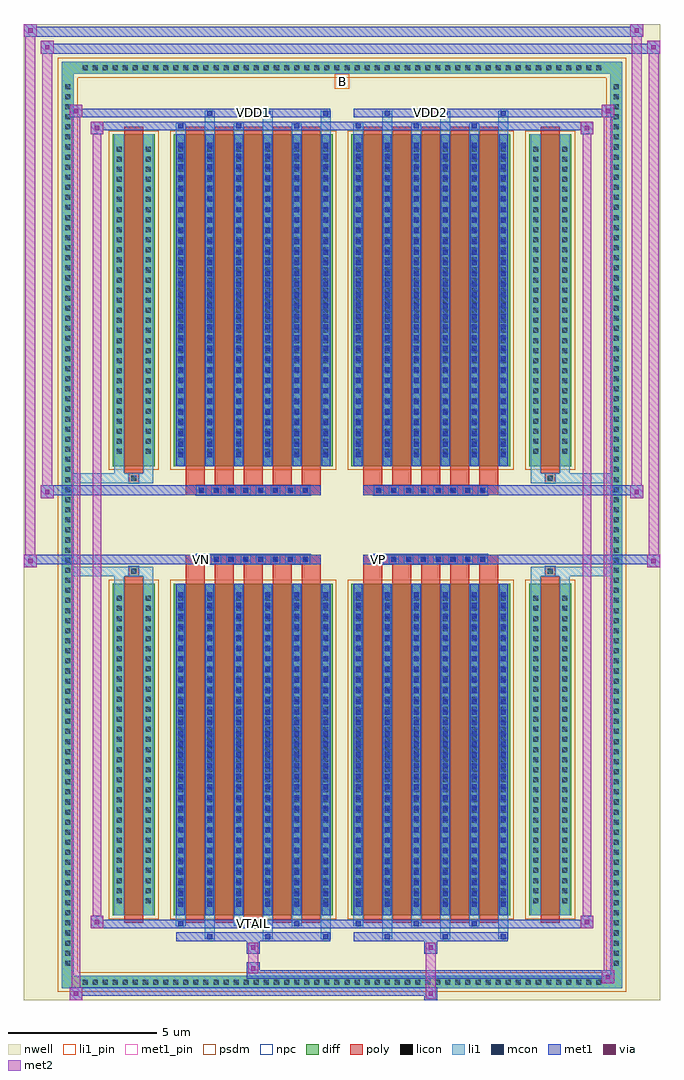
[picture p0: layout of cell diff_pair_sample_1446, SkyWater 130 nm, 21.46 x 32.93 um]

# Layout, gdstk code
import gdstk
lib = gdstk.Library(unit=1e-6, precision=5e-09)
def R(c, l, rs):  # rectangles x0, y0, x1, y1
    for r in rs: c.add(gdstk.rectangle(r[:2], r[2:], *l))
def A(c, l, x, y, w, h, nx, ny, dx, dy):  # array of equal rectangles
    R(c, l, [(x+i*dx, y+j*dy, x+i*dx+w, y+j*dy+h) for i in range(nx) for j in range(ny)])
def P(c, l, *ps):  # polygons
    for p in ps: c.add(gdstk.Polygon(p, *l))
nwell = (64, 20)
diff = (65, 20)
poly = (66, 20)
licon = (66, 44)
li1_pin = (67, 16)
li1 = (67, 20)
mcon = (67, 44)
met1_pin = (68, 16)
met1 = (68, 20)
via = (68, 44)
met2 = (69, 20)
psdm = (94, 20)
npc = (95, 20)

diff_pair_sample_1446 = lib.new_cell('diff_pair_sample_1446')
R(diff_pair_sample_1446, nwell, [(-10.73,-16.03,10.73,16.9), (-8.05,-14.22,-0.01,-0.8), (0.01,-14.22,8.05,-0.8), (-8.05,0.8,-0.01,14.22), (0.01,0.8,8.05,14.22)])
A(diff_pair_sample_1446, diff, -8.875, -15.63, 0.41, 0.41, 52, 2, 0.34, 30.85)
A(diff_pair_sample_1446, diff, -9.46, -14.995, 0.41, 0.41, 1, 88, 0, 0.34)
A(diff_pair_sample_1446, diff, 9.05, -14.995, 0.41, 0.41, 1, 88, 0, 0.34)
R(diff_pair_sample_1446, diff, [(-8.875,-15.63,8.875,-15.22), (-9.46,-14.995,-9.05,14.995), (9.05,-14.995,9.46,14.995), (-7.74,-13.175,-6.31,-1.985), (-5.67,-13.175,-0.32,-1.985), (0.32,-13.175,5.67,-1.985), (6.31,-13.175,7.74,-1.985), (-7.74,1.985,-6.31,13.175), (-5.67,1.985,-0.32,13.175), (0.32,1.985,5.67,13.175), (6.31,1.985,7.74,13.175), (-8.875,15.22,8.875,15.63)])
P(diff_pair_sample_1446, diff, [(9.46,15.63),(-9.46,15.63),(-9.46,-15.22),(-9.05,-15.22),(-9.05,15.22),(9.05,15.22),(9.05,-15.22),(-9.05,-15.22),(-9.46,-15.22),(-9.46,-15.63),(9.46,-15.63)])
A(diff_pair_sample_1446, poly, -5.28, -13.425, 0.65, 11.69, 5, 2, 0.98, 15.16)
A(diff_pair_sample_1446, poly, 0.71, -13.425, 0.65, 11.69, 5, 2, 0.98, 15.16)
A(diff_pair_sample_1446, poly, -5.28, -1.735, 0.65, 0.405, 5, 2, 0.98, 3.065)
A(diff_pair_sample_1446, poly, 0.71, -1.735, 0.65, 0.405, 5, 2, 0.98, 3.065)
A(diff_pair_sample_1446, poly, -4.91, -1.33, 0.33, 0.33, 8, 2, 0.5, 2.33)
A(diff_pair_sample_1446, poly, 1.08, -1.33, 0.33, 0.33, 8, 2, 0.5, 2.33)
R(diff_pair_sample_1446, poly, [(-7.35,-13.425,-6.7,-1.735), (6.7,-13.425,7.35,-1.735), (-7.19,-1.735,-6.86,-1.405), (-7.19,-1.735,-6.86,-1.405), (6.86,-1.735,7.19,-1.405), (6.86,-1.735,7.19,-1.405), (-5.28,-1.33,-0.71,-1), (0.71,-1.33,5.28,-1), (-5.28,1,-0.71,1.33), (0.71,1,5.28,1.33), (-7.19,1.405,-6.86,1.735), (-7.19,1.405,-6.86,1.735), (6.86,1.405,7.19,1.735), (6.86,1.405,7.19,1.735), (-7.35,1.735,-6.7,13.425), (6.7,1.735,7.35,13.425)])
A(diff_pair_sample_1446, licon, -8.755, -15.51, 0.17, 0.17, 52, 2, 0.34, 30.85)
A(diff_pair_sample_1446, licon, -9.34, -14.875, 0.17, 0.17, 1, 88, 0, 0.34)
A(diff_pair_sample_1446, licon, 9.17, -14.875, 0.17, 0.17, 1, 88, 0, 0.34)
A(diff_pair_sample_1446, licon, -7.6, -12.765, 0.17, 0.17, 1, 31, 0, 0.34)
A(diff_pair_sample_1446, licon, -6.62, -12.765, 0.17, 0.17, 1, 31, 0, 0.34)
A(diff_pair_sample_1446, licon, -5.53, -12.765, 0.17, 0.17, 6, 31, 0.98, 0.34)
A(diff_pair_sample_1446, licon, 0.46, -12.765, 0.17, 0.17, 6, 31, 0.98, 0.34)
A(diff_pair_sample_1446, licon, 6.45, -12.765, 0.17, 0.17, 1, 31, 0, 0.34)
A(diff_pair_sample_1446, licon, 7.43, -12.765, 0.17, 0.17, 1, 31, 0, 0.34)
A(diff_pair_sample_1446, licon, -4.83, -1.25, 0.17, 0.17, 8, 2, 0.5, 2.33)
A(diff_pair_sample_1446, licon, 1.16, -1.25, 0.17, 0.17, 8, 2, 0.5, 2.33)
A(diff_pair_sample_1446, licon, -7.6, 2.395, 0.17, 0.17, 1, 31, 0, 0.34)
A(diff_pair_sample_1446, licon, -6.62, 2.395, 0.17, 0.17, 1, 31, 0, 0.34)
A(diff_pair_sample_1446, licon, -5.53, 2.395, 0.17, 0.17, 6, 31, 0.98, 0.34)
A(diff_pair_sample_1446, licon, 0.46, 2.395, 0.17, 0.17, 6, 31, 0.98, 0.34)
A(diff_pair_sample_1446, licon, 6.45, 2.395, 0.17, 0.17, 1, 31, 0, 0.34)
A(diff_pair_sample_1446, licon, 7.43, 2.395, 0.17, 0.17, 1, 31, 0, 0.34)
R(diff_pair_sample_1446, licon, [(-7.11,-1.655,-6.94,-1.485), (6.94,-1.655,7.11,-1.485), (-7.11,1.485,-6.94,1.655), (6.94,1.485,7.11,1.655)])
R(diff_pair_sample_1446, li1_pin, [(-0.25,14.72,0.25,15.22)])
A(diff_pair_sample_1446, li1, -8.835, -15.59, 0.33, 0.33, 52, 2, 0.34, 30.85)
A(diff_pair_sample_1446, li1, -9.42, -14.955, 0.33, 0.33, 1, 88, 0, 0.34)
A(diff_pair_sample_1446, li1, 9.09, -14.955, 0.33, 0.33, 1, 88, 0, 0.34)
A(diff_pair_sample_1446, li1, -4.63, -13.98, 0.33, 0.805, 3, 2, 1.96, 27.155)
A(diff_pair_sample_1446, li1, -4.55, -13.98, 0.17, 0.17, 3, 2, 1.96, 27.79)
A(diff_pair_sample_1446, li1, 1.36, -13.98, 0.33, 0.805, 3, 2, 1.96, 27.155)
A(diff_pair_sample_1446, li1, 1.44, -13.98, 0.17, 0.17, 3, 2, 1.96, 27.79)
A(diff_pair_sample_1446, li1, -5.61, -13.55, 0.33, 0.375, 3, 2, 1.96, 26.725)
A(diff_pair_sample_1446, li1, -5.53, -13.55, 0.17, 0.17, 3, 2, 1.96, 26.93)
A(diff_pair_sample_1446, li1, 0.38, -13.55, 0.33, 0.375, 3, 2, 1.96, 26.725)
A(diff_pair_sample_1446, li1, 0.46, -13.55, 0.17, 0.17, 3, 2, 1.96, 26.93)
A(diff_pair_sample_1446, li1, -5.61, -13.175, 0.33, 11.19, 6, 2, 0.98, 15.16)
A(diff_pair_sample_1446, li1, 0.38, -13.175, 0.33, 11.19, 6, 2, 0.98, 15.16)
A(diff_pair_sample_1446, li1, -5.53, -12.885, 0.17, 0.17, 6, 30, 0.98, 0.36)
A(diff_pair_sample_1446, li1, -5.53, -12.885, 0.17, 10.61, 6, 2, 0.98, 15.16)
A(diff_pair_sample_1446, li1, 0.46, -12.885, 0.17, 0.17, 6, 30, 0.98, 0.36)
A(diff_pair_sample_1446, li1, 0.46, -12.885, 0.17, 10.61, 6, 2, 0.98, 15.16)
A(diff_pair_sample_1446, li1, -7.68, -12.845, 0.33, 0.33, 1, 31, 0, 0.34)
A(diff_pair_sample_1446, li1, -6.7, -12.845, 0.33, 0.33, 1, 31, 0, 0.34)
A(diff_pair_sample_1446, li1, -5.61, -12.845, 0.33, 0.33, 6, 31, 0.98, 0.34)
A(diff_pair_sample_1446, li1, 0.38, -12.845, 0.33, 0.33, 6, 31, 0.98, 0.34)
A(diff_pair_sample_1446, li1, 6.37, -12.845, 0.33, 0.33, 1, 31, 0, 0.34)
A(diff_pair_sample_1446, li1, 7.35, -12.845, 0.33, 0.33, 1, 31, 0, 0.34)
A(diff_pair_sample_1446, li1, -4.91, -1.33, 0.33, 0.33, 8, 2, 0.5, 2.33)
A(diff_pair_sample_1446, li1, 1.08, -1.33, 0.33, 0.33, 8, 2, 0.5, 2.33)
A(diff_pair_sample_1446, li1, -5.53, 2.275, 0.17, 0.17, 6, 30, 0.98, 0.36)
A(diff_pair_sample_1446, li1, 0.46, 2.275, 0.17, 0.17, 6, 30, 0.98, 0.36)
A(diff_pair_sample_1446, li1, -7.68, 2.315, 0.33, 0.33, 1, 31, 0, 0.34)
A(diff_pair_sample_1446, li1, -6.7, 2.315, 0.33, 0.33, 1, 31, 0, 0.34)
A(diff_pair_sample_1446, li1, -5.61, 2.315, 0.33, 0.33, 6, 31, 0.98, 0.34)
A(diff_pair_sample_1446, li1, 0.38, 2.315, 0.33, 0.33, 6, 31, 0.98, 0.34)
A(diff_pair_sample_1446, li1, 6.37, 2.315, 0.33, 0.33, 1, 31, 0, 0.34)
A(diff_pair_sample_1446, li1, 7.35, 2.315, 0.33, 0.33, 1, 31, 0, 0.34)
R(diff_pair_sample_1446, li1, [(-9.46,-15.63,-9.05,-15.22), (-9.46,-15.63,-9.05,-15.22), (-9.05,-15.63,9.05,-15.22), (9.05,-15.63,9.46,-15.22), (9.05,-15.63,9.46,-15.22), (-9.46,-15.22,-9.05,15.22), (9.05,-15.22,9.46,15.22), (-7.68,-13.175,-7.35,-1.985), (-6.7,-13.175,-6.37,-1.985), (6.37,-13.175,6.7,-1.985), (7.35,-13.175,7.68,-1.985), (-7.68,-1.985,-7.35,-1.405), (-6.7,-1.985,-6.37,-1.405), (6.37,-1.985,6.7,-1.405), (7.35,-1.985,7.68,-1.405), (-9.46,-1.735,-7.19,-1.405), (-7.68,-1.735,-7.19,-1.405), (-7.19,-1.735,-6.86,-1.405), (-6.86,-1.735,-6.37,-1.405), (6.37,-1.735,6.86,-1.405), (6.86,-1.735,7.19,-1.405), (6.86,-1.735,9.46,-1.405), (7.19,-1.735,7.68,-1.405), (-9.46,1.405,-7.19,1.735), (-7.68,1.405,-7.19,1.735), (-7.68,1.405,-7.35,1.985), (-7.19,1.405,-6.86,1.735), (-6.86,1.405,-6.37,1.735), (-6.7,1.405,-6.37,1.985), (6.37,1.405,6.86,1.735), (6.37,1.405,6.7,1.985), (6.86,1.405,7.19,1.735), (6.86,1.405,9.46,1.735), (7.19,1.405,7.68,1.735), (7.35,1.405,7.68,1.985), (-7.68,1.985,-7.35,13.175), (-6.7,1.985,-6.37,13.175), (6.37,1.985,6.7,13.175), (7.35,1.985,7.68,13.175), (-9.46,15.22,-9.05,15.63), (-9.46,15.22,-9.05,15.63), (-9.05,15.22,9.05,15.63), (9.05,15.22,9.46,15.63), (9.05,15.22,9.46,15.63)])
A(diff_pair_sample_1446, mcon, -4.55, -13.98, 0.17, 0.17, 3, 2, 1.96, 27.79)
A(diff_pair_sample_1446, mcon, 1.44, -13.98, 0.17, 0.17, 3, 2, 1.96, 27.79)
A(diff_pair_sample_1446, mcon, -5.53, -13.55, 0.17, 0.17, 3, 2, 1.96, 26.93)
A(diff_pair_sample_1446, mcon, 0.46, -13.55, 0.17, 0.17, 3, 2, 1.96, 26.93)
A(diff_pair_sample_1446, mcon, -5.53, -12.885, 0.17, 0.17, 6, 30, 0.98, 0.36)
A(diff_pair_sample_1446, mcon, 0.46, -12.885, 0.17, 0.17, 6, 30, 0.98, 0.36)
A(diff_pair_sample_1446, mcon, -4.83, -1.25, 0.17, 0.17, 8, 2, 0.5, 2.33)
A(diff_pair_sample_1446, mcon, 1.16, -1.25, 0.17, 0.17, 8, 2, 0.5, 2.33)
A(diff_pair_sample_1446, mcon, -5.53, 2.275, 0.17, 0.17, 6, 30, 0.98, 0.36)
A(diff_pair_sample_1446, mcon, 0.46, 2.275, 0.17, 0.17, 6, 30, 0.98, 0.36)
R(diff_pair_sample_1446, met1_pin, [(-3.13,-13.59,-2.86,-13.32), (-4.88,-1.29,-4.61,-1.02), (1.11,-1.29,1.38,-1.02), (-3.13,13.77,-2.86,14.04), (2.86,13.77,3.13,14.04)])
A(diff_pair_sample_1446, met1, -4.61, -14.04, 0.29, 0.29, 3, 2, 1.96, 27.79)
A(diff_pair_sample_1446, met1, 1.38, -14.04, 0.29, 0.29, 3, 2, 1.96, 27.79)
A(diff_pair_sample_1446, met1, -5.59, -13.61, 0.29, 0.29, 3, 2, 1.96, 26.93)
A(diff_pair_sample_1446, met1, 0.4, -13.61, 0.29, 0.29, 3, 2, 1.96, 26.93)
A(diff_pair_sample_1446, met1, -5.59, -13.175, 0.29, 11.19, 6, 2, 0.98, 15.16)
A(diff_pair_sample_1446, met1, 0.4, -13.175, 0.29, 11.19, 6, 2, 0.98, 15.16)
A(diff_pair_sample_1446, met1, -5.59, -12.945, 0.29, 0.29, 6, 30, 0.98, 0.36)
A(diff_pair_sample_1446, met1, 0.4, -12.945, 0.29, 0.29, 6, 30, 0.98, 0.36)
A(diff_pair_sample_1446, met1, -4.89, -1.31, 0.29, 0.29, 8, 2, 0.5, 2.33)
A(diff_pair_sample_1446, met1, 1.1, -1.31, 0.29, 0.29, 8, 2, 0.5, 2.33)
A(diff_pair_sample_1446, met1, -5.59, 2.215, 0.29, 0.29, 6, 30, 0.98, 0.36)
A(diff_pair_sample_1446, met1, 0.4, 2.215, 0.29, 0.29, 6, 30, 0.98, 0.36)
R(diff_pair_sample_1446, met1, [(-9.19,-16.03,-8.76,-15.6), (2.78,-16.03,3.21,-15.6), (-9.19,-15.89,3.21,-15.6), (8.76,-15.46,9.19,-15.03), (-3.21,-15.32,9.19,-15.03), (-3.21,-15.18,-2.78,-14.75), (-3.21,-14.47,-2.78,-14.04), (2.78,-14.47,3.21,-14.04), (-5.59,-14.04,-0.4,-13.75), (0.4,-14.04,5.59,-13.75), (-8.48,-13.61,-8.05,-13.18), (-8.48,-13.61,-5.59,-13.32), (-5.59,-13.61,-0.4,-13.32), (-0.4,-13.61,0.4,-13.32), (0.4,-13.61,5.59,-13.32), (5.59,-13.61,8.48,-13.32), (8.05,-13.61,8.48,-13.18), (-10.73,-1.43,-10.3,-1), (10.3,-1.43,10.73,-1), (-10.73,-1.33,-0.71,-1), (-5.28,-1.33,-0.71,-1), (0.71,-1.33,5.28,-1), (0.71,-1.33,10.73,-1), (-10.16,0.9,-9.73,1.33), (9.73,0.9,10.16,1.33), (-10.16,1,-5.28,1.33), (-5.28,1,-0.71,1.33), (0.71,1,5.28,1.33), (5.28,1,10.16,1.33), (-8.48,13.18,-8.05,13.61), (8.05,13.18,8.48,13.61), (-8.48,13.32,-5.59,13.61), (-5.59,13.32,-0.4,13.61), (-0.4,13.32,0.4,13.61), (0.4,13.32,5.59,13.61), (5.59,13.32,8.48,13.61), (-9.19,13.75,-8.76,14.18), (-9.19,13.75,-5.59,14.04), (-5.59,13.75,-0.4,14.04), (0.4,13.75,5.59,14.04), (5.59,13.75,9.19,14.04), (8.76,13.75,9.19,14.18), (-10.16,15.9,-9.73,16.33), (-10.16,15.9,-8.05,16.23), (-8.05,15.9,8.05,16.23), (8.05,15.9,10.73,16.23), (10.3,15.9,10.73,16.33), (-10.73,16.47,-10.3,16.9), (-10.73,16.47,-8.05,16.8), (-8.05,16.47,8.05,16.8), (8.05,16.47,10.16,16.8), (9.73,16.47,10.16,16.9)])
R(diff_pair_sample_1446, via, [(-9.05,-15.89,-8.9,-15.74), (2.92,-15.89,3.07,-15.74), (8.9,-15.32,9.05,-15.17), (-3.07,-15.04,-2.92,-14.89), (-3.07,-14.33,-2.92,-14.18), (2.92,-14.33,3.07,-14.18), (-8.34,-13.47,-8.19,-13.32), (8.19,-13.47,8.34,-13.32), (-10.59,-1.29,-10.44,-1.14), (10.44,-1.29,10.59,-1.14), (-10.02,1.04,-9.87,1.19), (9.87,1.04,10.02,1.19), (-8.34,13.32,-8.19,13.47), (8.19,13.32,8.34,13.47), (-9.05,13.89,-8.9,14.04), (8.9,13.89,9.05,14.04), (-10.02,16.04,-9.87,16.19), (10.44,16.04,10.59,16.19), (-10.59,16.61,-10.44,16.76), (9.87,16.61,10.02,16.76)])
R(diff_pair_sample_1446, met2, [(-9.19,-16.03,-8.76,-15.6), (-9.12,-16.03,-8.83,14.18), (-8.83,-16.03,-8.76,-15.6), (-9.14,-15.98,-8.81,-15.65), (2.83,-15.98,3.16,-15.65), (2.83,-15.65,3.16,-14.42), (8.76,-15.46,9.19,-15.03), (8.83,-15.46,9.12,14.18), (9.12,-15.46,9.19,-15.03), (8.81,-15.41,9.14,-15.08), (-3.16,-15.13,-2.83,-14.8), (-3.16,-14.8,-2.83,-14.42), (-3.16,-14.42,-2.83,-14.09), (2.83,-14.42,3.16,-14.09), (-8.48,-13.61,-8.05,-13.18), (-8.41,-13.61,-8.12,13.61), (-8.12,-13.61,-8.05,-13.18), (8.05,-13.61,8.48,-13.18), (8.12,-13.61,8.41,13.61), (8.41,-13.61,8.48,-13.18), (-8.43,-13.56,-8.1,-13.23), (8.1,-13.56,8.43,-13.23), (-10.73,-1.43,-10.3,-1), (-10.68,-1.43,-10.35,16.9), (-10.35,-1.43,-10.3,-1), (10.3,-1.43,10.73,-1), (10.35,-1.43,10.68,16.33), (10.68,-1.43,10.73,-1), (-10.68,-1.38,-10.35,-1.05), (10.35,-1.38,10.68,-1.05), (-10.16,0.9,-9.73,1.33), (-10.11,0.9,-9.78,16.33), (-9.78,0.9,-9.73,1.33), (9.73,0.9,10.16,1.33), (9.78,0.9,10.11,16.9), (10.11,0.9,10.16,1.33), (-10.11,0.95,-9.78,1.28), (9.78,0.95,10.11,1.28), (-8.48,13.18,-8.05,13.61), (-8.12,13.18,-8.05,13.61), (8.05,13.18,8.48,13.61), (8.41,13.18,8.48,13.61), (-8.43,13.23,-8.1,13.56), (8.1,13.23,8.43,13.56), (-9.19,13.75,-8.76,14.18), (-8.83,13.75,-8.76,14.18), (8.76,13.75,9.19,14.18), (9.12,13.75,9.19,14.18), (-9.14,13.8,-8.81,14.13), (8.81,13.8,9.14,14.13), (-10.16,15.9,-9.73,16.33), (-9.78,15.9,-9.73,16.33), (10.3,15.9,10.73,16.33), (10.68,15.9,10.73,16.33), (-10.11,15.95,-9.78,16.28), (10.35,15.95,10.68,16.28), (-10.73,16.47,-10.3,16.9), (-10.35,16.47,-10.3,16.9), (9.73,16.47,10.16,16.9), (10.11,16.47,10.16,16.9), (-10.68,16.52,-10.35,16.85), (9.78,16.52,10.11,16.85)])
R(diff_pair_sample_1446, psdm, [(-7.87,-13.305,-6.18,-1.855), (-5.8,-13.305,-0.19,-1.855), (0.19,-13.305,5.8,-1.855), (6.18,-13.305,7.87,-1.855), (-7.87,1.855,-6.18,13.305), (-5.8,1.855,-0.19,13.305), (0.19,1.855,5.8,13.305), (6.18,1.855,7.87,13.305)])
P(diff_pair_sample_1446, psdm, [(9.59,15.76),(-9.59,15.76),(-9.59,-15.09),(-8.92,-15.09),(-8.92,15.09),(8.92,15.09),(8.92,-15.09),(-8.92,-15.09),(-9.59,-15.09),(-9.59,-15.76),(9.59,-15.76)])
A(diff_pair_sample_1446, npc, -4.93, -1.35, 0.37, 0.37, 8, 2, 0.5, 2.33)
A(diff_pair_sample_1446, npc, 1.06, -1.35, 0.37, 0.37, 8, 2, 0.5, 2.33)
R(diff_pair_sample_1446, npc, [(-7.21,-1.755,-6.84,-1.385), (6.84,-1.755,7.21,-1.385), (-4.93,-1.35,-4.06,-0.98), (-4.93,-1.35,-4.06,-0.98), (-4.43,-1.35,-3.56,-0.98), (-4.43,-1.35,-3.56,-0.98), (-3.93,-1.35,-3.06,-0.98), (-3.93,-1.35,-3.06,-0.98), (-3.43,-1.35,-2.56,-0.98), (-3.43,-1.35,-2.56,-0.98), (-2.93,-1.35,-2.06,-0.98), (-2.93,-1.35,-2.06,-0.98), (-2.43,-1.35,-1.56,-0.98), (-2.43,-1.35,-1.56,-0.98), (-1.93,-1.35,-1.06,-0.98), (-1.93,-1.35,-1.06,-0.98), (1.06,-1.35,1.93,-0.98), (1.06,-1.35,1.93,-0.98), (1.56,-1.35,2.43,-0.98), (1.56,-1.35,2.43,-0.98), (2.06,-1.35,2.93,-0.98), (2.06,-1.35,2.93,-0.98), (2.56,-1.35,3.43,-0.98), (2.56,-1.35,3.43,-0.98), (3.06,-1.35,3.93,-0.98), (3.06,-1.35,3.93,-0.98), (3.56,-1.35,4.43,-0.98), (3.56,-1.35,4.43,-0.98), (4.06,-1.35,4.93,-0.98), (4.06,-1.35,4.93,-0.98), (-4.93,0.98,-4.06,1.35), (-4.93,0.98,-4.06,1.35), (-4.43,0.98,-3.56,1.35), (-4.43,0.98,-3.56,1.35), (-3.93,0.98,-3.06,1.35), (-3.93,0.98,-3.06,1.35), (-3.43,0.98,-2.56,1.35), (-3.43,0.98,-2.56,1.35), (-2.93,0.98,-2.06,1.35), (-2.93,0.98,-2.06,1.35), (-2.43,0.98,-1.56,1.35), (-2.43,0.98,-1.56,1.35), (-1.93,0.98,-1.06,1.35), (-1.93,0.98,-1.06,1.35), (1.06,0.98,1.93,1.35), (1.06,0.98,1.93,1.35), (1.56,0.98,2.43,1.35), (1.56,0.98,2.43,1.35), (2.06,0.98,2.93,1.35), (2.06,0.98,2.93,1.35), (2.56,0.98,3.43,1.35), (2.56,0.98,3.43,1.35), (3.06,0.98,3.93,1.35), (3.06,0.98,3.93,1.35), (3.56,0.98,4.43,1.35), (3.56,0.98,4.43,1.35), (4.06,0.98,4.93,1.35), (4.06,0.98,4.93,1.35), (-7.21,1.385,-6.84,1.755), (6.84,1.385,7.21,1.755)])
diff_pair_sample_1446.add(gdstk.Label('VTAIL', (-2.995,-13.455), layer=68, texttype=5))
diff_pair_sample_1446.add(gdstk.Label('VN', (-4.745,-1.155), layer=68, texttype=5))
diff_pair_sample_1446.add(gdstk.Label('VP', (1.245,-1.155), layer=68, texttype=5))
diff_pair_sample_1446.add(gdstk.Label('B', (0,14.97), layer=67, texttype=5))
diff_pair_sample_1446.add(gdstk.Label('VDD2', (2.995,13.905), layer=68, texttype=5))
diff_pair_sample_1446.add(gdstk.Label('VDD1', (-2.995,13.905), layer=68, texttype=5))

lib.write_gds('diff_pair_sample_1446.gds')
